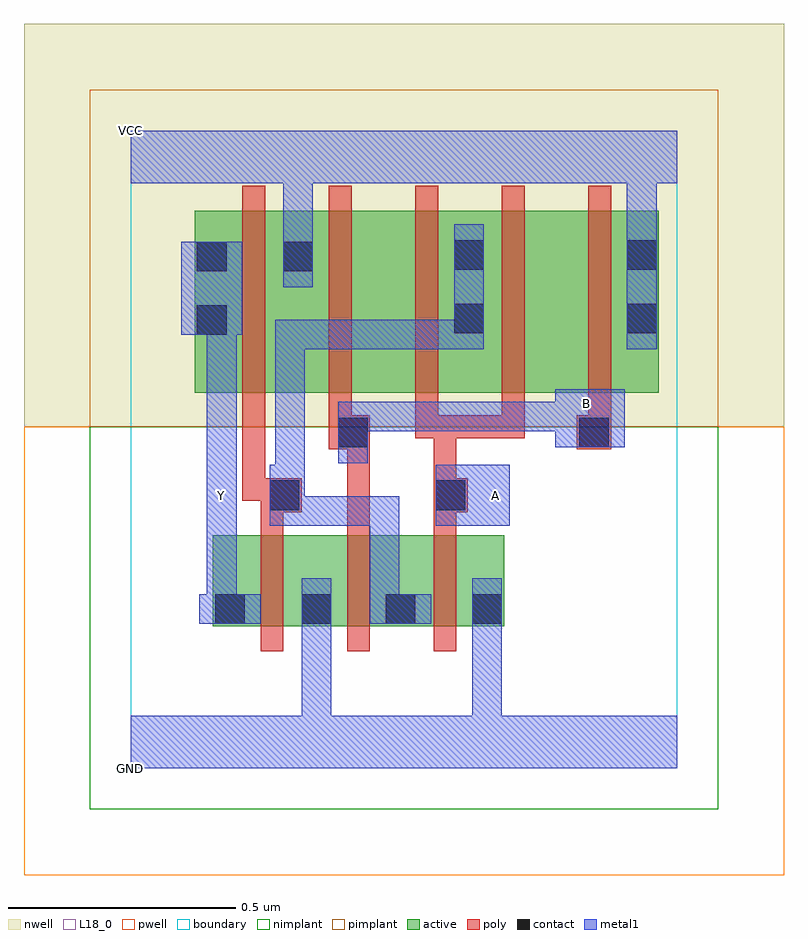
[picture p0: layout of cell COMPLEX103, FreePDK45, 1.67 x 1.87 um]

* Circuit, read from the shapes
.subckt COMPLEX103 A B GND VCC Y
M1 GND n1 Y VSUBS nfet w=0.2u l=0.05u
M2 n1 B GND VSUBS nfet w=0.2u l=0.05u
M3 GND A n1 VSUBS nfet w=0.2u l=0.05u
M4 VCC n1 Y n2 pfet w=0.4u l=0.05u
M5 n3 B VCC n2 pfet w=0.4u l=0.05u
M6 n1 A n3 n2 pfet w=0.4u l=0.05u
M7 n4 A n1 n2 pfet w=0.4u l=0.05u
M8 VCC B n4 n2 pfet w=0.4u l=0.05u
.ends

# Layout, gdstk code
import gdstk
lib = gdstk.Library(unit=1e-6, precision=1e-09)
def R(c, l, rs):  # rectangles x0, y0, x1, y1
    for r in rs: c.add(gdstk.rectangle(r[:2], r[2:], *l))
def A(c, l, x, y, w, h, nx, ny, dx, dy):  # array of equal rectangles
    R(c, l, [(x+i*dx, y+j*dy, x+i*dx+w, y+j*dy+h) for i in range(nx) for j in range(ny)])
active = (1, 0)
pwell = (2, 0)
nwell = (3, 0)
nimplant = (4, 0)
pimplant = (5, 0)
poly = (9, 0)
contact = (10, 0)
metal1 = (11, 0)
L18_0 = (18, 0)
boundary = (235, 0)

complex103 = lib.new_cell('COMPLEX103')
R(complex103, active, [(0.18,0.312,0.255,0.512), (0.18,0.312,0.445,0.512), (0.37,0.312,0.445,0.512), (0.37,0.312,0.63,0.512), (0.555,0.312,0.82,0.512), (0.555,0.312,0.63,0.387), (0.745,0.312,0.82,0.512), (0.14,0.825,0.405,1.225), (0.14,0.825,0.215,1.2), (0.33,0.825,0.555,1.225), (0.555,0.825,0.78,1.225), (0.705,0.825,0.935,1.225), (0.935,0.825,1.16,1.225), (1.085,0.825,1.16,1.205), (0.33,0.907,0.405,1.205), (0.705,0.907,0.78,1.2)])
R(complex103, pwell, [(-0.235,-0.235,1.435,0.75)])
R(complex103, nwell, [(-0.235,0.75,1.435,1.635)])
R(complex103, nimplant, [(-0.09,-0.09,1.29,0.75)])
R(complex103, pimplant, [(-0.09,0.75,1.29,1.49)])
A(complex103, poly, 0.285, 0.257, 0.05, 0.31, 3, 1, 0.19, 0)
A(complex103, poly, 0.435, 0.725, 0.05, 0.095, 4, 1, 0.19, 0)
A(complex103, poly, 0.245, 0.77, 0.05, 0.51, 5, 1, 0.19, 0)
R(complex103, poly, [(0.285,0.517,0.335,0.612), (0.475,0.517,0.525,0.75), (0.665,0.517,0.715,0.612), (0.285,0.562,0.375,0.637), (0.665,0.562,0.74,0.637), (0.245,0.587,0.335,0.637), (0.245,0.587,0.295,0.82), (0.285,0.587,0.335,0.637), (0.665,0.587,0.715,0.775), (0.435,0.7,0.525,0.775), (0.475,0.7,0.525,0.75), (0.475,0.7,0.525,0.75), (0.98,0.7,1.055,0.775), (0.625,0.725,0.715,0.775), (0.665,0.725,0.865,0.775), (0.665,0.725,0.715,0.775), (0.665,0.725,0.715,0.775), (0.815,0.725,0.865,0.775)])
R(complex103, contact, [(0.185,0.317,0.25,0.382), (0.375,0.317,0.44,0.382), (0.56,0.317,0.625,0.382), (0.75,0.317,0.815,0.382), (0.305,0.567,0.37,0.632), (0.67,0.567,0.735,0.632), (0.455,0.705,0.52,0.77), (0.985,0.705,1.05,0.77), (0.145,0.952,0.21,1.017), (0.71,0.955,0.775,1.02), (1.09,0.955,1.155,1.02), (0.145,1.092,0.21,1.157), (0.335,1.092,0.4,1.157), (0.71,1.095,0.775,1.16), (1.09,1.095,1.155,1.16)])
R(complex103, metal1, [(0,0,1.2,0.115), (0.375,0.05,0.44,0.347), (0.75,0.05,0.815,0.115), (0.75,0.05,0.815,0.115), (0.75,0.05,0.815,0.115), (0.75,0.05,0.815,0.115), (0.75,0.05,0.815,0.347), (0.375,0.282,0.44,0.347), (0.375,0.282,0.44,0.347), (0.375,0.282,0.44,0.347), (0.375,0.282,0.44,0.347), (0.375,0.282,0.44,0.417), (0.75,0.282,0.815,0.417), (0.15,0.317,0.285,0.382), (0.167,0.317,0.232,0.597), (0.525,0.317,0.59,0.597), (0.525,0.317,0.66,0.382), (0.167,0.532,0.232,0.667), (0.305,0.532,0.37,0.667), (0.305,0.532,0.382,0.597), (0.317,0.532,0.382,0.597), (0.317,0.532,0.382,0.597), (0.317,0.532,0.382,0.597), (0.317,0.532,0.585,0.597), (0.317,0.532,0.382,0.985), (0.52,0.532,0.585,0.597), (0.52,0.532,0.585,0.597), (0.52,0.532,0.59,0.597), (0.67,0.532,0.832,0.667), (0.167,0.602,0.232,1.017), (0.455,0.67,0.52,0.805), (0.932,0.705,1.085,0.832), (0.455,0.74,0.52,0.805), (0.455,0.74,0.52,0.805), (0.455,0.74,0.722,0.805), (0.657,0.74,0.722,0.805), (0.657,0.74,0.86,0.805), (0.795,0.74,0.86,0.805), (0.795,0.74,0.86,0.805), (0.795,0.74,0.86,0.805), (0.795,0.74,0.997,0.805), (0.932,0.74,0.997,0.805), (0.932,0.74,0.997,0.805), (0.317,0.92,0.382,0.985), (0.317,0.92,0.585,0.985), (0.52,0.92,0.585,0.985), (0.52,0.92,0.585,0.985), (0.52,0.92,0.585,0.985), (0.52,0.92,0.722,0.985), (0.657,0.92,0.722,0.985), (0.657,0.92,0.775,0.985), (0.71,0.92,0.775,1.195), (1.09,0.92,1.155,1.195), (0.11,0.952,0.245,1.157), (0.167,0.952,0.232,1.017), (0.167,0.952,0.232,1.017), (0.335,1.057,0.4,1.192), (0.335,1.127,0.4,1.35), (1.09,1.13,1.155,1.35), (0,1.285,1.2,1.4)])
R(complex103, L18_0, [(0,0,1.2,0.115), (0.375,0.05,0.44,0.347), (0.75,0.05,0.815,0.115), (0.75,0.05,0.815,0.115), (0.75,0.05,0.815,0.115), (0.75,0.05,0.815,0.115), (0.75,0.05,0.815,0.347), (0.375,0.282,0.44,0.417), (0.375,0.282,0.44,0.347), (0.375,0.282,0.44,0.347), (0.375,0.282,0.44,0.347), (0.375,0.282,0.44,0.347), (0.75,0.282,0.815,0.417), (0.15,0.317,0.285,0.382), (0.167,0.317,0.232,0.597), (0.167,0.532,0.232,0.667), (0.67,0.532,0.832,0.667), (0.167,0.567,0.232,0.632), (0.767,0.567,0.832,0.632), (0.167,0.602,0.232,1.017), (0.455,0.67,0.52,0.805), (0.932,0.705,1.085,0.832), (0.455,0.74,0.52,0.805), (0.455,0.74,0.52,0.805), (0.455,0.74,0.722,0.805), (0.657,0.74,0.722,0.805), (0.657,0.74,0.86,0.805), (0.795,0.74,0.86,0.805), (0.795,0.74,0.86,0.805), (0.795,0.74,0.86,0.805), (0.795,0.74,0.997,0.805), (0.932,0.74,0.997,0.805), (0.932,0.74,0.997,0.805), (0.967,0.767,1.032,0.832), (1.09,0.92,1.155,1.195), (0.11,0.952,0.245,1.157), (0.167,0.952,0.232,1.017), (0.167,0.952,0.232,1.017), (0.335,1.057,0.4,1.192), (0.335,1.127,0.4,1.35), (1.09,1.13,1.155,1.35), (0,1.285,1.2,1.4)])
R(complex103, boundary, [(0,0,1.2,1.4)])
complex103.add(gdstk.Label('A', (0.8,0.6), layer=11, texttype=0))
complex103.add(gdstk.Label('B', (1,0.8), layer=11, texttype=0))
complex103.add(gdstk.Label('Y', (0.2,0.6), layer=11, texttype=0))
complex103.add(gdstk.Label('VCC', (0,1.4), layer=11, texttype=0))
complex103.add(gdstk.Label('GND', (0,0), layer=11, texttype=0))

lib.write_gds('COMPLEX103.gds')
